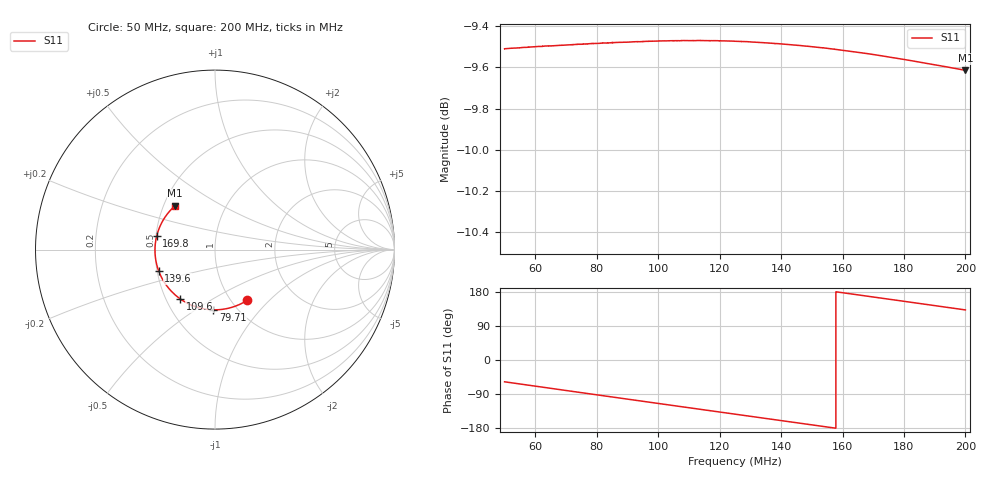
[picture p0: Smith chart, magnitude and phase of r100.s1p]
! COPPER MOUNTAIN TECHNOLOGIES, PLANAR TR1300/1, 00071119, 20.2.2/1.0
! Date: 12/11/2023 3:23:00 PM
! Data: Format [Calibration Info]
! Freq  S11: Re/Im F1
# HZ S RI R 50
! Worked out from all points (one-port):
!   12288 points, 50 MHz to 200 MHz, reference 50 ohm
!   lowest |S11| = -9.6 dB at 200 MHz (marker M1), VSWR 1.99, Z = 28.7 + j15.8 ohm
!   |S11| at or under -10 dB: nowhere
!   S11 on the Smith chart (normalised r, x): 50 MHz: 1.18, -0.75; 79.71 MHz: 0.78, -0.59; 109.6 MHz: 0.59, -0.36; 139.6 MHz: 0.51, -0.14; 169.8 MHz: 0.50, +0.09; 200 MHz: 0.57, +0.32
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5e7  0.1796 -0.2823
5.30398e7  0.1621 -0.2929
5.975421e7  0.1214 -0.3122
6.875153e7  0.0637 -0.3291
7.412306e7  0.0282 -0.3343
7.971433e7  -0.0091 -0.3355
8.750305e7  -0.0607 -0.3303
9.219093e7  -0.0912 -0.3233
9.679336e7  -0.1203 -0.3137
1.015423e8  -0.1493 -0.3011
1.062546e8  -0.1767 -0.2859
1.09563e8  -0.195 -0.2738
1.172784e8  -0.2343 -0.241
1.250061e8  -0.2681 -0.2026
1.322333e8  -0.294 -0.1623
1.396069e8  -0.3141 -0.118
1.437576e8  -0.3225 -0.0919
1.485676e8  -0.3295 -0.0609
1.532433e8  -0.3334 -0.0303
1.578457e8  -0.3345 4.7e-05
1.625092e8  -0.3327 0.0307
1.697729e8  -0.3243 0.0779
1.754252e8  -0.3131 0.1134
1.812607e8  -0.2975 0.1485
1.89904e8  -0.2671 0.1965
1.958371e8  -0.2417 0.2262
1.999878e8  -0.2219 0.245
2e8  -0.2219 0.2451
